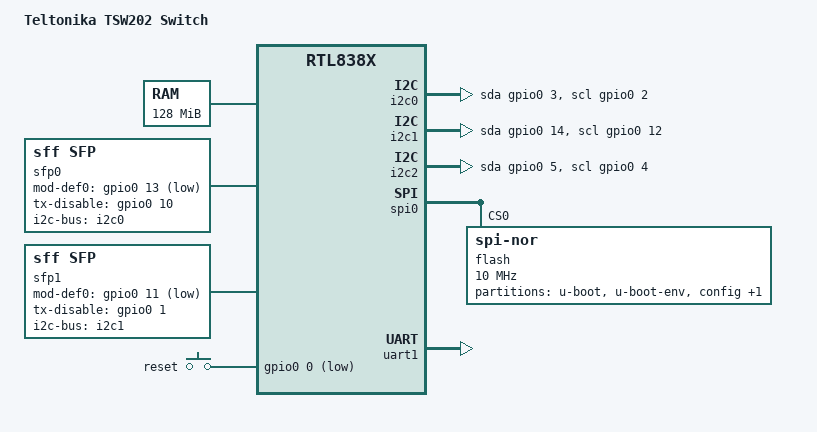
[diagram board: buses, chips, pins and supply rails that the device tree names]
// SPDX-License-Identifier: GPL-2.0-or-later

#include "rtl838x.dtsi"

#include <dt-bindings/gpio/gpio.h>
#include <dt-bindings/input/input.h>

/ {
	compatible = "teltonika,tsw202", "realtek,rtl838x-soc";
	model = "Teltonika TSW202 Switch";

	memory@0 {
		device_type = "memory";
		reg = <0x0 0x8000000>;
	};

	/* i2c of the left SFP cage: port 9 */
	i2c0: i2c-gpio-0 {
		compatible = "i2c-gpio";
		sda-gpios = <&gpio0 3 (GPIO_ACTIVE_HIGH | GPIO_OPEN_DRAIN)>;
		scl-gpios = <&gpio0 2 (GPIO_ACTIVE_HIGH | GPIO_OPEN_DRAIN)>;
		i2c-gpio,delay-us = <2>;
		#address-cells = <1>;
		#size-cells = <0>;
	};

	sfp0: sfp-p9 {
		compatible = "sff,sfp";
		i2c-bus = <&i2c0>;
		mod-def0-gpio = <&gpio0 13 GPIO_ACTIVE_LOW>;
		tx-disable-gpio =  <&gpio0 10 GPIO_ACTIVE_HIGH>;
	};

	/* i2c of the right SFP cage: port 10 */
	i2c1: i2c-gpio-1 {
		compatible = "i2c-gpio";
		sda-gpios = <&gpio0 14 (GPIO_ACTIVE_HIGH | GPIO_OPEN_DRAIN)>;
		scl-gpios = <&gpio0 12 (GPIO_ACTIVE_HIGH | GPIO_OPEN_DRAIN)>;
		i2c-gpio,delay-us = <2>;
		#address-cells = <1>;
		#size-cells = <0>;
	};

	sfp1: sfp-p10 {
		compatible = "sff,sfp";
		i2c-bus = <&i2c1>;
		mod-def0-gpio = <&gpio0 11 GPIO_ACTIVE_LOW>;
		tx-disable-gpio = <&gpio0 1 GPIO_ACTIVE_HIGH>;
	};

	/* i2c for poe */
	i2c2: i2c-gpio-2 {
		compatible = "i2c-gpio";
		sda-gpios = <&gpio0 5 (GPIO_ACTIVE_HIGH | GPIO_OPEN_DRAIN)>;
		scl-gpios = <&gpio0 4 (GPIO_ACTIVE_HIGH | GPIO_OPEN_DRAIN)>;
		i2c-gpio,delay-us = <2>;
		#address-cells = <1>;
		#size-cells = <0>;
	};

	leds {
		compatible = "gpio-leds";
		pinctrl-names = "default";
		pinctrl-0 = <&pinmux_disable_sys_led>;
	};

	keys {
		compatible = "gpio-keys";

		reset {
			label = "reset";
			gpios = <&gpio0 0 GPIO_ACTIVE_LOW>;
			linux,code = <KEY_RESTART>;
		};
	};
};

&spi0 {
	status = "okay";

	flash@0 {
		compatible = "jedec,spi-nor";
		reg = <0>;
		spi-max-frequency = <10000000>;

		partitions {
			compatible = "fixed-partitions";
			#address-cells = <1>;
			#size-cells = <1>;

			partition@0 {
				label = "u-boot";
				reg = <0x0 0x80000>;
				read-only;
			};

			partition@80000 {
				label = "u-boot-env";
				reg = <0x80000 0x10000>;
				read-only;
			};

			partition@90000 {
				label = "config";
				reg = <0x90000 0x10000>;
				read-only;

				nvmem-layout {
					compatible = "fixed-layout";
					#address-cells = <1>;
					#size-cells = <1>;

					macaddr_config_0: macaddr@0 {
						reg = <0x0 0x6>;
					};
				};
			};

			partition@a0000 {
				label = "firmware";
				reg = <0xa0000 0xf60000>;
				compatible = "openwrt,uimage", "denx,uimage";
			};
		};
	};
};

&uart1 {
	status = "okay";
};

&ethernet0 {
	nvmem-cells = <&macaddr_config_0 0>;
	nvmem-cell-names = "mac-address";
};

&mdio_bus0 {
	PHY_C22(8, 8)
	PHY_C22(9, 9)
	PHY_C22(10, 10)
	PHY_C22(11, 11)
	PHY_C22(12, 12)
	PHY_C22(13, 13)
	PHY_C22(14, 14)
	PHY_C22(15, 15)
};

&switch0 {
	ethernet-ports {

		SWITCH_PORT(8, 1, internal)
		SWITCH_PORT(9, 2, internal)
		SWITCH_PORT(10, 3, internal)
		SWITCH_PORT(11, 4, internal)
		SWITCH_PORT(12, 5, internal)
		SWITCH_PORT(13, 6, internal)
		SWITCH_PORT(14, 7, internal)
		SWITCH_PORT(15, 8, internal)
		SWITCH_PORT_SFP(24,  9, 4, 0, 0)
		SWITCH_PORT_SFP(26, 10, 5, 0, 1)

		port@28 {
			ethernet = <&ethernet0>;
			reg = <28>;
			phy-mode = "internal";
			fixed-link {
				speed = <1000>;
				full-duplex;
			};
		};

	};
};
